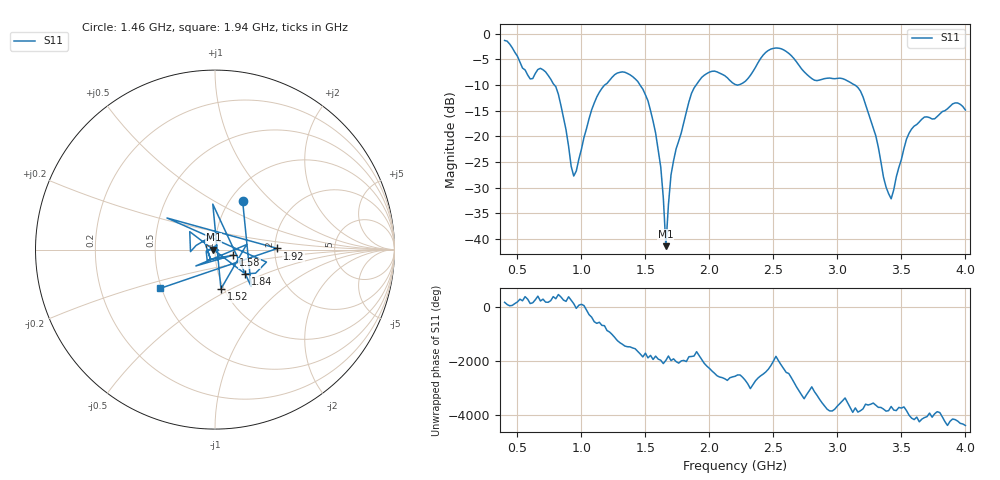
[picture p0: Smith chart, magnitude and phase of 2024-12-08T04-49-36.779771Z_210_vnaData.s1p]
!Created with skrf (http://scikit-rf.org).
# Hz S RI R 50.0
!freq ReS11 ImS11
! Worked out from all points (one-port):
!   181 points, 400 MHz to 4 GHz, reference 50 ohm
!   lowest |S11| = -41.4 dB at 1.66 GHz (marker M1), VSWR 1.02, Z = 49.2 - j0.106 ohm
!   |S11| at or under -10 dB: 788.5 MHz to 1.182 GHz (393.8 MHz wide, 40 % of centre); 1.458 GHz to 1.897 GHz (439.4 MHz wide, 26.2 % of centre); 3.135 GHz to end of sweep (the widest 3 of 4)
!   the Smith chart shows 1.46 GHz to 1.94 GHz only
!   S11 on the Smith chart (normalised r, x): 1.46 GHz: 1.14, +0.69; 1.52 GHz: 0.97, -0.45; 1.58 GHz: 1.23, -0.08; 1.84 GHz: 1.34, -0.38; 1.92 GHz: 2.07, +0.03; 1.94 GHz: 0.49, -0.25
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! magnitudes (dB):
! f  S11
! 400 MHz  -1.3
! 600 MHz  -8.8
! 720 MHz  -7.4
! 800 MHz  -10.3
! 860 MHz  -16.3
! 940 MHz  -27.8
! 1.12 GHz  -12.4
! 1.3 GHz  -7.5
! 1.46 GHz  -10.1
! 1.52 GHz  -13.1
! 1.58 GHz  -19.4
! 1.62 GHz  -26.0
! 1.66 GHz  -41.4
! 1.7 GHz  -27.5
! 1.76 GHz  -20.9
! 1.84 GHz  -13.3
! 1.92 GHz  -9.2
! 1.94 GHz  -8.5
! 2.2 GHz  -9.9
! 2.48 GHz  -3.0
! 2.66 GHz  -4.8
! 2.82 GHz  -9.1
! 3.1 GHz  -9.5
! 3.2 GHz  -12.3
! 3.42 GHz  -32.2
! 3.56 GHz  -19.4
! 3.9 GHz  -13.7
! 4 GHz  -14.9
